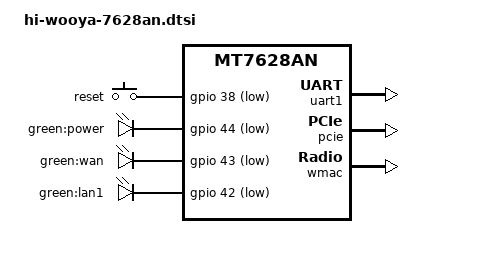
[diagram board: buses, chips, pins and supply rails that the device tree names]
// SPDX-License-Identifier: BSD-3-Clause
/*
 *  Copyright(c) 2017 Kristian Evensen <kristian.evensen@gmail.com>.
 *  Copyright(c) 2017 Piotr Dymacz <pepe2k@gmail.com>.
 *  All rights reserved.
 */

#include "mt7628an.dtsi"

#include <dt-bindings/gpio/gpio.h>
#include <dt-bindings/input/input.h>

/ {
	compatible = "unielec,u7628-01", "mediatek,mt7628an-soc";

	aliases {
		led-boot = &led_power;
		led-failsafe = &led_power;
		led-running = &led_power;
		led-upgrade = &led_power;
	};

	chosen {
		bootargs = "console=ttyS0,115200";
	};

	keys {
		compatible = "gpio-keys";

		reset {
			label = "reset";
			gpios = <&gpio 38 GPIO_ACTIVE_LOW>;
			linux,code = <KEY_RESTART>;
		};

	};

	leds {
		compatible = "gpio-leds";

		led_power: power {
			label = "green:power";
			gpios = <&gpio 44 GPIO_ACTIVE_LOW>;
		};

		wan {
			label = "green:wan";
			gpios = <&gpio 43 GPIO_ACTIVE_LOW>;
		};

		lan1 {
			label = "green:lan1";
			gpios = <&gpio 42 GPIO_ACTIVE_LOW>;
		};

	};
};

&uart1 {
        status = "okay";
};

&pcie {
	status = "okay";
};

/*
&sdhci {
	status = "okay";
};
*/

&ethernet {
	mtd-mac-address = <&factory 0x28>;
};

&wmac {
	status = "okay";
};

&state_default {
	gpio {
		groups = "gpio";
		function = "gpio";
	};

	wdt {
		groups = "wdt";
		function = "gpio";
	};
};
